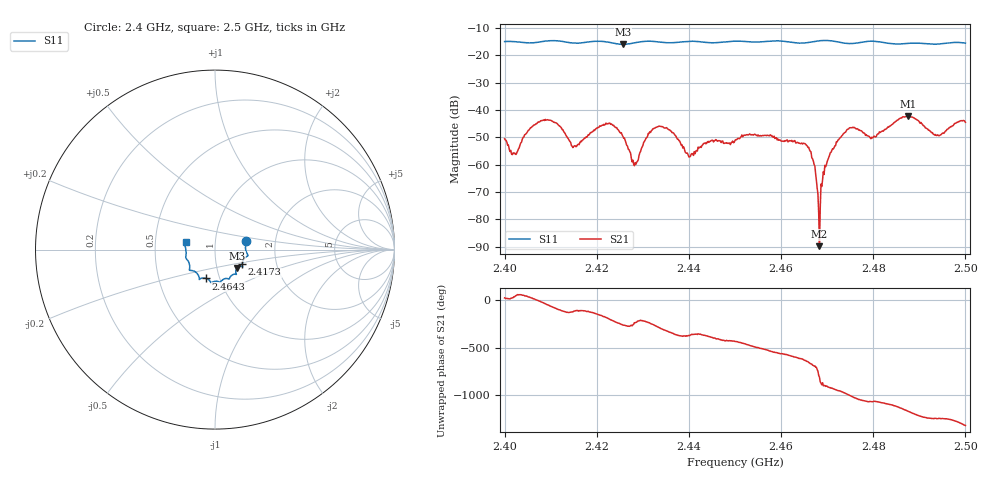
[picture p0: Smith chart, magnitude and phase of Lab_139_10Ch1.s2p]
# Hz S RI R 50
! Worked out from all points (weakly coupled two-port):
!   601 points, 2.4 GHz to 2.5 GHz, reference 50 ohm
!   highest |S21| = -42.12 dB at 2.4875 GHz (marker M1); lowest = -89.8 dB at 2.4683 GHz (marker M2)
!   lowest |S11| = -15.9 dB at 2.4257 GHz (marker M3), VSWR 1.38, Z = 62.5 - j13.1 ohm
!   |S11| at or under -10 dB: start of sweep to end of sweep
!   S12 and S22 are empty: the file has one direction only
!   S11 on the Smith chart (normalised r, x): 2.4 GHz: 1.41, +0.14; 2.4173 GHz: 1.34, -0.23; 2.4643 GHz: 0.86, -0.28; 2.5 GHz: 0.72, +0.06
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2.4e9  0.173 0.0495  0.00284 0.000906  0 0  0 0
2.402167e9  0.1747 0.0402  0.00143 0.000799  0 0  0 0
2.405667e9  0.17 0.00528  0.00447 0.00171  0 0  0 0
2.409333e9  0.1829 -0.0299  0.00389 -0.00543  0 0  0 0
2.415e9  0.1589 -0.056  -0.0011 -0.00187  0 0  0 0
2.416667e9  0.1527 -0.075  -0.00109 -0.0024  0 0  0 0
2.417333e9  0.1521 -0.0823  -0.00141 -0.00275  0 0  0 0
2.422333e9  0.1497 -0.0936  -0.0055 0.00135  0 0  0 0
2.425667e9  0.1228 -0.1023  -0.000257 0.0033  0 0  0 0
2.4285e9  0.1156 -0.128  -0.000544 0.000862  0 0  0 0
2.433333e9  0.1126 -0.1366  0.00152 0.00476  0 0  0 0
2.44e9  0.08 -0.163  0.00135 -0.000319  0 0  0 0
2.45e9  0.0296 -0.1808  0.000643 -0.00272  0 0  0 0
2.464333e9  -0.0503 -0.1606  -0.000577 0.00237  0 0  0 0
2.466667e9  -0.0762 -0.1598  0.000935 0.000958  0 0  0 0
2.468333e9  -0.086 -0.1651  -6.76e-08 -3.22e-05  0 0  0 0
2.47e9  -0.0878 -0.1664  -0.00113 0.000105  0 0  0 0
2.474e9  -0.0977 -0.1358  -0.000765 0.00388  0 0  0 0
2.483333e9  -0.1409 -0.0897  0.00477 -0.000903  0 0  0 0
2.4875e9  -0.158 -0.0533  0.000757 -0.00779  0 0  0 0
2.493833e9  -0.1615 -0.00318  -0.00329 -0.000971  0 0  0 0
2.5e9  -0.1633 0.0417  -0.00356 0.0048  0 0  0 0
